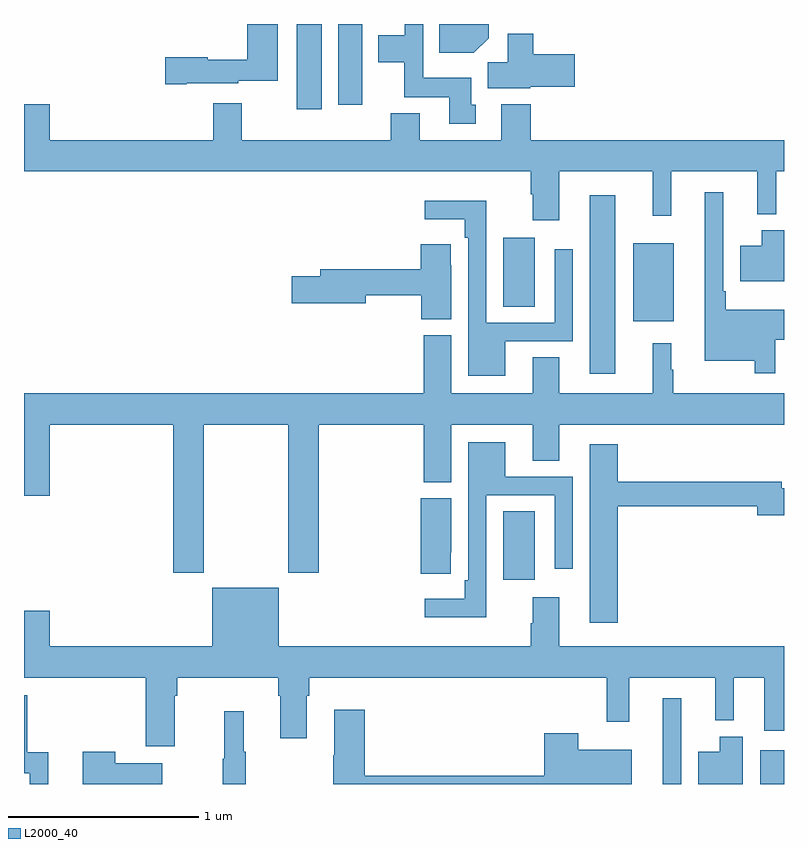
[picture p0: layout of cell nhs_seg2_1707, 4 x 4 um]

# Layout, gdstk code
import gdstk
lib = gdstk.Library(unit=1e-6, precision=1e-09)
def R(c, l, rs):  # rectangles x0, y0, x1, y1
    for r in rs: c.add(gdstk.rectangle(r[:2], r[2:], *l))
def P(c, l, *ps):  # polygons
    for p in ps: c.add(gdstk.Polygon(p, *l))
L2000_40 = (2000, 40)

nhs_seg2_1707 = lib.new_cell('nhs_seg2_1707')
R(nhs_seg2_1707, L2000_40, [(204.362,589.8,204.459,590.251), (204.875,589.8,205,589.978), (203.522,590.874,203.689,591.236), (203.978,591.96,204.112,592.9), (204.206,592.235,204.421,592.645), (203.522,592.312,203.689,592.675), (202.436,593.352,202.567,593.8), (202.655,593.376,202.78,593.8)])
P(nhs_seg2_1707, L2000_40, [(201.856,593.489),(202.128,593.489),(202.128,593.501),(202.336,593.501),(202.336,593.8),(202.174,593.8),(202.174,593.611),(201.966,593.611),(201.966,593.624),(201.744,593.624),(201.744,593.482),(201.856,593.482)],
  [(203.377,593.376),(203.353,593.376),(203.353,593.518),(203.1,593.518),(203.1,593.8),(203.004,593.8),(203.004,593.74),(202.865,593.74),(202.865,593.6),(203.002,593.6),(203.002,593.414),(203.237,593.414),(203.237,593.274),(203.377,593.274)],
  [(203.446,593.726),(203.446,593.8),(203.185,593.8),(203.185,593.648),(203.368,593.648)],
  [(203.664,593.471),(203.899,593.471),(203.899,593.642),(203.681,593.642),(203.681,593.749),(203.546,593.749),(203.546,593.6),(203.441,593.6),(203.441,593.462),(203.664,593.462)],
  [(203.818,593.024),(204.308,593.024),(204.308,592.791),(204.407,592.791),(204.407,593.024),(204.86,593.024),(204.86,592.799),(204.958,592.799),(204.958,593.024),(205,593.024),(205,593.188),(203.666,593.188),(203.666,593.377),(203.513,593.377),(203.513,593.188),(203.083,593.188),(203.083,593.329),(202.931,593.329),(202.931,593.188),(202.147,593.188),(202.147,593.383),(201.995,593.383),(201.995,593.188),(201.136,593.188),(201.136,593.377),(201,593.377),(201,593.024),(203.666,593.024),(203.666,592.904),(203.678,592.904),(203.678,592.767),(203.818,592.767)],
  [(204.955,592.139),(205,592.139),(205,592.297),(204.694,592.297),(204.694,592.393),(204.681,592.393),(204.681,592.915),(204.584,592.915),(204.584,592.028),(204.846,592.028),(204.846,591.963),(204.955,591.963)],
  [(203.533,592.131),(203.889,592.131),(203.889,592.615),(203.793,592.615),(203.793,592.227),(203.433,592.227),(203.433,592.87),(203.109,592.87),(203.109,592.772),(203.321,592.772),(203.321,592.676),(203.337,592.676),(203.337,591.95),(203.533,591.95)],
  [(205,592.714),(204.884,592.714),(204.884,592.633),(204.77,592.633),(204.77,592.445),(205,592.445)],
  [(203.248,592.529),(203.247,592.529),(203.247,592.642),(203.087,592.642),(203.087,592.508),(202.559,592.508),(202.559,592.472),(202.41,592.472),(202.41,592.33),(202.798,592.33),(202.798,592.372),(203.092,592.372),(203.092,592.246),(203.248,592.246)],
  [(201.945,591.692),(202.39,591.692),(202.39,590.913),(202.55,590.913),(202.55,591.692),(203.105,591.692),(203.105,591.388),(203.248,591.388),(203.248,591.692),(203.678,591.692),(203.678,591.502),(203.818,591.502),(203.818,591.692),(205,591.692),(205,591.856),(204.418,591.856),(204.418,591.98),(204.406,591.98),(204.406,592.12),(204.308,592.12),(204.308,591.856),(203.818,591.856),(203.818,592.046),(203.678,592.046),(203.678,591.856),(203.248,591.856),(203.248,592.161),(203.105,592.161),(203.105,591.856),(201,591.856),(201,591.318),(201.136,591.318),(201.136,591.692),(201.785,591.692),(201.785,590.913),(201.945,590.913)],
  [(203.433,591.321),(203.793,591.321),(203.793,590.934),(203.889,590.934),(203.889,591.417),(203.533,591.417),(203.533,591.598),(203.337,591.598),(203.337,590.872),(203.321,590.872),(203.321,590.776),(203.109,590.776),(203.109,590.678),(203.433,590.678)],
  [(204.125,591.262),(204.86,591.262),(204.86,591.215),(205,591.215),(205,591.357),(204.988,591.357),(204.988,591.391),(204.125,591.391),(204.125,591.589),(203.978,591.589),(203.978,590.649),(204.125,590.649)],
  [(203.247,591.019),(203.248,591.019),(203.248,591.303),(203.087,591.303),(203.087,590.907),(203.247,590.907)],
  [(201.793,590.264),(201.806,590.264),(201.806,590.36),(202.337,590.36),(202.337,590.264),(202.349,590.264),(202.349,590.04),(202.489,590.04),(202.489,590.264),(202.502,590.264),(202.502,590.36),(204.067,590.36),(204.067,590.127),(204.185,590.127),(204.185,590.36),(204.638,590.36),(204.638,590.135),(204.736,590.135),(204.736,590.36),(204.896,590.36),(204.896,590.079),(205,590.079),(205,590.524),(203.818,590.524),(203.818,590.782),(203.678,590.782),(203.678,590.645),(203.666,590.645),(203.666,590.524),(202.342,590.524),(202.342,590.833),(201.992,590.833),(201.992,590.524),(201.136,590.524),(201.136,590.713),(201,590.713),(201,590.36),(201.641,590.36),(201.641,589.998),(201.793,589.998)],
  [(201.128,589.966),(201.017,589.966),(201.017,590.268),(201,590.268),(201,589.857),(201.03,589.857),(201.03,589.8),(201.128,589.8)],
  [(204.199,589.981),(203.916,589.981),(203.916,590.068),(203.738,590.068),(203.738,589.844),(202.793,589.844),(202.793,590.191),(202.634,590.191),(202.634,589.952),(202.627,589.952),(202.627,589.8),(204.199,589.8)],
  [(202.168,589.969),(202.157,589.969),(202.157,590.182),(202.054,590.182),(202.054,589.932),(202.047,589.932),(202.047,589.8),(202.168,589.8)],
  [(204.784,590.05),(204.662,590.05),(204.662,589.969),(204.548,589.969),(204.548,589.8),(204.784,589.8)],
  [(201.727,589.909),(201.479,589.909),(201.479,589.969),(201.308,589.969),(201.308,589.8),(201.727,589.8)])

lib.write_gds('nhs_seg2_1707.gds')
